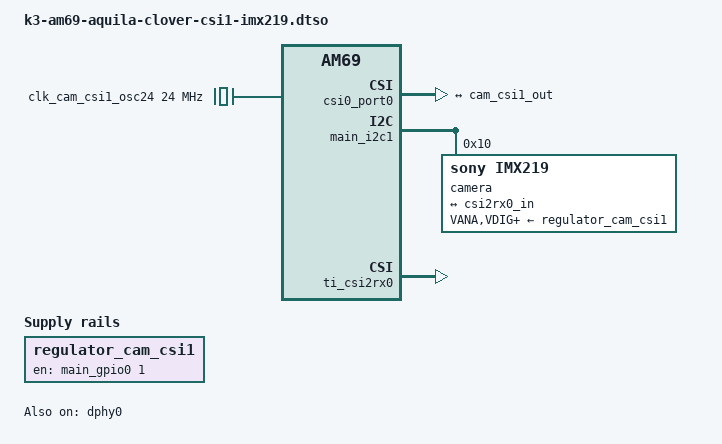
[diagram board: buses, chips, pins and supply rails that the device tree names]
// SPDX-License-Identifier: GPL-2.0-or-later OR MIT
/*
 * Aquila AM69 Clover CSI1 IMX219 Raspiberry Camera Videtronic
 *
 */

/dts-v1/;
/plugin/;

#include <dt-bindings/gpio/gpio.h>
#include <dt-bindings/media/video-interfaces.h>

/ {
	compatible = "toradex,aquila-am69";
};

&{/} {
	clk_cam_csi1_osc24: clk-cam-csi1-osc24 {
		compatible = "fixed-clock";
		#clock-cells = <0>;
		clock-frequency = <24000000>;
	};

	regulator_cam_csi1: regulator-cam-csi1 {
		compatible = "regulator-fixed";
		pinctrl-names = "default";
		pinctrl-0 = <&pinctrl_gpio_09_csi_1>;
		/* Aquila GPIO_09_CSI_1 - BergStark Connector 26 */
		gpio = <&main_gpio0 1 GPIO_ACTIVE_HIGH>;
		enable-active-high;
		regulator-name = "V_CSI1";
		startup-delay-us = <5000>;
	};
};

&csi0_port0 {
	status = "okay";

	csi2rx0_in: endpoint {
		remote-endpoint = <&cam_csi1_out>;
		bus-type = <MEDIA_BUS_TYPE_CSI2_DPHY>;
		clock-lanes = <0>;
		data-lanes = <1 2>;
	};
};

&dphy0 {
	status = "okay";
};

/* Aquila I2C_4_CSI1 */
&main_i2c1 {
	#address-cells = <1>;
	#size-cells = <0>;
	status = "okay";

	camera@10 {
		compatible = "sony,imx219";
		reg = <0x10>;
		clocks = <&clk_cam_csi1_osc24>;
		clock-names = "xclk";
		VANA-supply = <&regulator_cam_csi1>;
		VDIG-supply = <&regulator_cam_csi1>;
		VDDL-supply = <&regulator_cam_csi1>;

		port {
			cam_csi1_out: endpoint {
				remote-endpoint = <&csi2rx0_in>;
				clock-lanes = <0>;
				data-lanes = <1 2>;
				link-frequencies = /bits/ 64 <456000000>;
			};
		};
	};
};

&ti_csi2rx0 {
	status = "okay";
};
